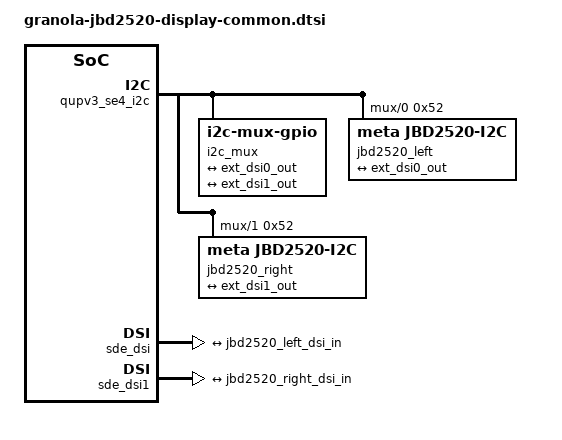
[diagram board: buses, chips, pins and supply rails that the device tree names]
// SPDX-License-Identifier: GPL-2.0

#include "vendor-base/qcom/display/neo-sde.dtsi"
#include "vendor-base/qcom/display/neo_luna-v2-sde-display.dtsi"
#include "granola-oatmeal-jbd2520-panel-left.dtsi"
#include "granola-oatmeal-jbd2520-panel-right.dtsi"

&soc {
	i2c_mux: i2c-mux {
		compatible = "i2c-mux-gpio";
		#address-cells = <1>;
		#size-cells = <0>;
		i2c-parent = <&qupv3_se4_i2c>;

		pinctrl-names = "default";
		pinctrl-0 = <&i2c_mux_sel>;

		i2c@0 {
			reg = <0>;
			#address-cells = <1>;
			#size-cells = <0>;

			jbd2520_left: jbd2520@52 {
				compatible = "meta,jbd2520-i2c";
				reg = <0x52>;
				#thermal-sensor-cells = <0>;

				status = "okay";

				ports {
					#address-cells = <1>;
					#size-cells = <0>;

					port@0 {
						reg = <0>;
						jbd2520_left_dsi_in: endpoint {
							remote-endpoint = <&ext_dsi0_out>;
						};
					};
				};
			};
		};

		i2c@1 {
			reg = <1>;
			#address-cells = <1>;
			#size-cells = <0>;

			jbd2520_right: jbd2520@52 {
				compatible = "meta,jbd2520-i2c";
				reg = <0x52>;
				#thermal-sensor-cells = <0>;

				status = "okay";

				ports {
					#address-cells = <1>;
					#size-cells = <0>;

					port@0 {
						reg = <0>;
						jbd2520_right_dsi_in: endpoint {
							remote-endpoint = <&ext_dsi1_out>;
						};
					};
				};
			};
		};
	};
};

&sde_dsi {
	qcom,dsi-default-panel = <&dsi_jbd2520_600x800_60hz_left>;
	qcom,dsi-display-active;

	qcom,mdp = <&mdss_mdp>;
	qcom,display-type = "primary";

	ports {
		#address-cells = <1>;
		#size-cells = <0>;

		port@0 {
			reg = <0>;
			ext_dsi0_out: endpoint {
				remote-endpoint = <&jbd2520_left_dsi_in>;
			};
		};
	};
};

&sde_dsi1 {
	qcom,dsi-default-panel = <&dsi_jbd2520_600x800_60hz_right>;
	qcom,dsi-display-active;

	qcom,mdp = <&mdss_mdp>;

	ports {
		#address-cells = <1>;
		#size-cells = <0>;

		port@0 {
			reg = <0>;
			ext_dsi1_out: endpoint {
				remote-endpoint = <&jbd2520_right_dsi_in>;
			};
		};
	};
};

&mdss_mdp {
	bridges = <&jbd2520_left>, <&jbd2520_right>;
};

&thermal_zones {
	jbd2520-left-temp {
		polling-delay-passive = <0>;
		polling-delay = <0>;
		thermal-sensors = <&jbd2520_left>;
	};

	jbd2520-right-temp {
		polling-delay-passive = <0>;
		polling-delay = <0>;
		thermal-sensors = <&jbd2520_right>;
	};

	left-display-temp {
		polling-delay-passive = <0>;
		polling-delay = <0>;
		thermal-governor = "user_space";
		thermal-sensors = <&left_display_temp>;
	};

	right-display-temp {
		polling-delay-passive = <0>;
		polling-delay = <0>;
		thermal-governor = "user_space";
		thermal-sensors = <&right_display_temp>;
	};

	da9172-pmic-temp {
		polling-delay-passive = <0>;
		polling-delay = <0>;
		thermal-governor = "user_space";
		thermal-sensors = <&pmicDA9172>;
	};
};
